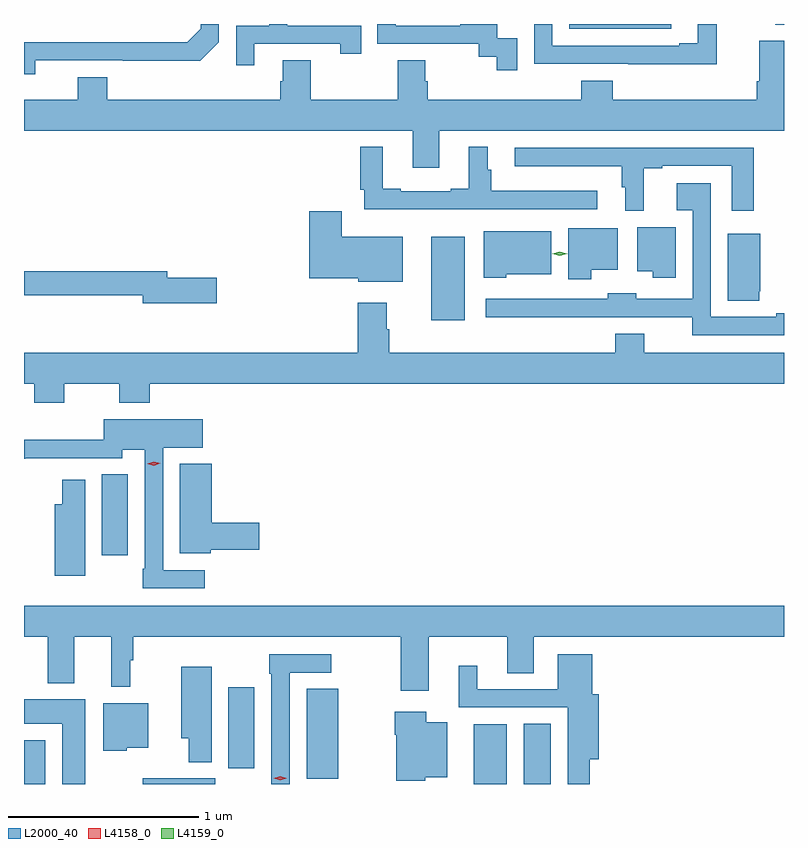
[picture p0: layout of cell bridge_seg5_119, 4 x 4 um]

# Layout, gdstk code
import gdstk
lib = gdstk.Library(unit=1e-6, precision=1e-09)
def R(c, l, rs):  # rectangles x0, y0, x1, y1
    for r in rs: c.add(gdstk.rectangle(r[:2], r[2:], *l))
def P(c, l, *ps):  # polygons
    for p in ps: c.add(gdstk.Polygon(p, *l))
L2000_40 = (2000, 40)
L4158_0 = (4158, 0)
L4159_0 = (4159, 0)

bridge_seg5_119 = lib.new_cell('bridge_seg5_119')
R(bridge_seg5_119, L2000_40, [(436.002,899.942,436.114,900.172), (436.628,899.942,437.008,899.971), (438.368,899.942,438.544,900.256), (438.632,899.942,438.775,900.26), (437.489,899.969,437.656,900.443), (437.078,900.025,437.215,900.451), (436.412,901.146,436.549,901.571), (438.146,902.384,438.322,902.821), (438.873,903.918,439.408,903.942), (439.955,903.938,440.002,903.942)])
P(bridge_seg5_119, L2000_40, [(436.062,903.75),(436.522,903.75),(436.522,903.749),(436.93,903.749),(437.028,903.846),(437.028,903.942),(436.932,903.942),(436.932,903.918),(436.86,903.846),(436.002,903.846),(436.002,903.677),(436.062,903.677)],
  [(437.215,903.837),(437.666,903.837),(437.666,903.786),(437.777,903.786),(437.777,903.933),(437.388,903.933),(437.388,903.942),(437.292,903.942),(437.292,903.933),(437.118,903.933),(437.118,903.726),(437.215,903.726)],
  [(438.597,903.867),(438.492,903.867),(438.492,903.942),(438.299,903.942),(438.299,903.933),(437.958,903.933),(437.958,903.942),(437.862,903.942),(437.862,903.837),(438.396,903.837),(438.396,903.769),(438.489,903.769),(438.489,903.699),(438.597,903.699)],
  [(439.647,903.942),(439.547,903.942),(439.547,903.841),(439.451,903.841),(439.451,903.828),(438.783,903.828),(438.783,903.942),(438.687,903.942),(438.687,903.732),(439.183,903.732),(439.183,903.731),(439.647,903.731)],
  [(438.187,903.38),(440.002,903.38),(440.002,903.853),(439.871,903.853),(439.871,903.64),(439.859,903.64),(439.859,903.544),(439.1,903.544),(439.1,903.643),(438.935,903.643),(438.935,903.544),(438.128,903.544),(438.128,903.642),(438.115,903.642),(438.115,903.752),(437.968,903.752),(437.968,903.544),(437.511,903.544),(437.511,903.752),(437.363,903.752),(437.363,903.642),(437.351,903.642),(437.351,903.544),(436.439,903.544),(436.439,903.661),(436.286,903.661),(436.286,903.544),(436.002,903.544),(436.002,903.38),(438.047,903.38),(438.047,903.186),(438.187,903.186)],
  [(438.318,902.967),(439.018,902.967),(439.018,903.064),(438.461,903.064),(438.461,903.174),(438.442,903.174),(438.442,903.295),(438.344,903.295),(438.344,903.076),(438.248,903.076),(438.248,903.063),(437.986,903.063),(437.986,903.076),(437.89,903.076),(437.89,903.295),(437.773,903.295),(437.773,903.07),(437.793,903.07),(437.793,902.966),(438.318,902.966)],
  [(439.264,903.183),(439.36,903.183),(439.36,903.195),(439.728,903.195),(439.728,902.958),(439.844,902.958),(439.844,903.291),(438.585,903.291),(438.585,903.194),(439.147,903.194),(439.147,903.084),(439.166,903.084),(439.166,902.958),(439.264,902.958)],
  [(440.002,902.42),(439.96,902.42),(439.96,902.4),(439.617,902.4),(439.617,903.103),(439.437,903.103),(439.437,902.963),(439.521,902.963),(439.521,902.496),(439.224,902.496),(439.224,902.524),(439.074,902.524),(439.074,902.496),(438.432,902.496),(438.432,902.399),(439.519,902.399),(439.519,902.304),(440.002,902.304)],
  [(437.995,902.821),(437.674,902.821),(437.674,902.956),(437.504,902.956),(437.504,902.603),(437.76,902.603),(437.76,902.585),(437.995,902.585)],
  [(439.432,902.872),(439.229,902.872),(439.229,902.642),(439.31,902.642),(439.31,902.606),(439.432,902.606)],
  [(438.988,902.648),(439.126,902.648),(439.126,902.866),(438.866,902.866),(438.866,902.598),(438.988,902.598)],
  [(438.54,902.624),(438.778,902.624),(438.778,902.851),(438.422,902.851),(438.422,902.606),(438.54,902.606)],
  [(439.872,902.535),(439.876,902.535),(439.876,902.839),(439.706,902.839),(439.706,902.485),(439.872,902.485)],
  [(437.017,902.606),(436.756,902.606),(436.756,902.642),(436.002,902.642),(436.002,902.514),(436.628,902.514),(436.628,902.471),(437.017,902.471)],
  [(436.215,902.048),(436.504,902.048),(436.504,901.949),(436.664,901.949),(436.664,902.048),(440.002,902.048),(440.002,902.212),(439.267,902.212),(439.267,902.311),(439.115,902.311),(439.115,902.212),(437.924,902.212),(437.924,902.336),(437.911,902.336),(437.911,902.476),(437.759,902.476),(437.759,902.212),(436.002,902.212),(436.002,902.048),(436.055,902.048),(436.055,901.949),(436.215,901.949)],
  [(436.954,901.068),(436.734,901.068),(436.734,901.712),(436.942,901.712),(436.942,901.861),(436.422,901.861),(436.422,901.754),(436.002,901.754),(436.002,901.655),(436.009,901.655),(436.009,901.656),(436.518,901.656),(436.518,901.7),(436.638,901.7),(436.638,901.075),(436.626,901.075),(436.626,900.972),(436.954,900.972)],
  [(436.986,901.174),(437.239,901.174),(437.239,901.316),(436.99,901.316),(436.99,901.627),(436.823,901.627),(436.823,901.157),(436.986,901.157)],
  [(436.324,901.543),(436.202,901.543),(436.202,901.414),(436.163,901.414),(436.163,901.037),(436.324,901.037)],
  [(436.002,900.716),(436.127,900.716),(436.127,900.473),(436.267,900.473),(436.267,900.716),(436.46,900.716),(436.46,900.453),(436.562,900.453),(436.562,900.593),(436.577,900.593),(436.577,900.716),(437.986,900.716),(437.986,900.432),(438.133,900.432),(438.133,900.716),(438.545,900.716),(438.545,900.526),(438.685,900.526),(438.685,900.716),(440.002,900.716),(440.002,900.88),(436.002,900.88)],
  [(438.98,900.071),(439.027,900.071),(439.027,900.415),(438.994,900.415),(438.994,900.625),(438.812,900.625),(438.812,900.441),(438.388,900.441),(438.388,900.565),(438.29,900.565),(438.29,900.345),(438.864,900.345),(438.864,899.942),(438.98,899.942)],
  [(437.4,900.528),(437.62,900.528),(437.62,900.624),(437.292,900.624),(437.292,900.521),(437.304,900.521),(437.304,899.942),(437.4,899.942)],
  [(436.99,900.559),(436.829,900.559),(436.829,900.182),(436.868,900.182),(436.868,900.056),(436.99,900.056)],
  [(436.324,900.388),(436.002,900.388),(436.002,900.26),(436.202,900.26),(436.202,899.942),(436.324,899.942)],
  [(436.542,900.134),(436.657,900.134),(436.657,900.367),(436.418,900.367),(436.418,900.116),(436.542,900.116)],
  [(438.114,899.978),(438.229,899.978),(438.229,900.268),(438.118,900.268),(438.118,900.322),(437.953,900.322),(437.953,900.2),(437.96,900.2),(437.96,899.96),(438.114,899.96)])
P(bridge_seg5_119, L4158_0, [(437.351,899.962),(437.316,899.972),(437.316,899.972),(437.316,899.973),(437.351,899.982),(437.386,899.971),(437.386,899.971),(437.386,899.971)],
  [(436.685,901.618),(436.65,901.627),(436.65,901.628),(436.65,901.628),(436.685,901.638),(436.72,901.629),(436.72,901.629),(436.72,901.629)])
P(bridge_seg5_119, L4159_0, [(438.822,902.723),(438.782,902.733),(438.782,902.733),(438.782,902.733),(438.822,902.743),(438.862,902.733),(438.862,902.733),(438.862,902.732)])

lib.write_gds('bridge_seg5_119.gds')
